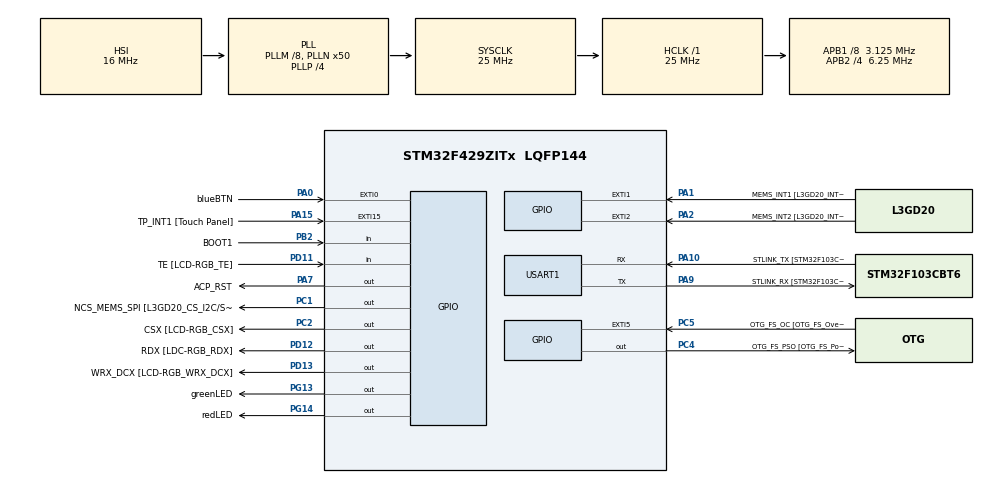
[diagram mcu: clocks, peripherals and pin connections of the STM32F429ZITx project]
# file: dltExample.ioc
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Mcu.Family=STM32F4
Mcu.Name=STM32F429ZITx
Mcu.Package=LQFP144
NVIC.PriorityGroup=NVIC_PRIORITYGROUP_0
NVIC.USART1_IRQn=true\:0\:0\:false\:false\:true\:true\:true\:true
PA0/WKUP.GPIO_Label=blueBTN
PA0/WKUP.GPIO_ModeDefaultEXTI=GPIO_MODE_EVT_RISING
PA0/WKUP.GPIO_PuPd=GPIO_NOPULL
PA0/WKUP.Signal=GPXTI0
PA1.GPIO_Label=MEMS_INT1 [L3GD20_INT1]
PA1.GPIO_ModeDefaultEXTI=GPIO_MODE_EVT_RISING
PA1.GPIO_PuPd=GPIO_NOPULL
PA1.Signal=GPXTI1
PA10.GPIO_Label=STLINK_TX [STM32F103CBT6_PA2]
PA10.Mode=Asynchronous
PA10.Signal=USART1_RX
PA11.GPIO_Label=R4
PA11.GPIO_Mode=GPIO_MODE_AF_PP
PA11.GPIO_PuPd=GPIO_NOPULL
PA11.GPIO_Speed=GPIO_SPEED_FREQ_LOW
PA11.Signal=LTDC_R4
PA12.GPIO_Label=R5
PA12.GPIO_Mode=GPIO_MODE_AF_PP
PA12.GPIO_PuPd=GPIO_NOPULL
PA12.GPIO_Speed=GPIO_SPEED_FREQ_LOW
PA12.Signal=LTDC_R5
PA13.GPIO_Label=SWDIO
PA13.Signal=SYS_JTMS-SWDIO
PA14.GPIO_Label=SWCLK
PA14.Signal=SYS_JTCK-SWCLK
PA15.GPIO_Label=TP_INT1 [Touch Panel]
PA15.GPIO_ModeDefaultEXTI=GPIO_MODE_EVT_RISING
PA15.GPIO_PuPd=GPIO_NOPULL
PA15.Signal=GPXTI15
PA2.GPIO_Label=MEMS_INT2 [L3GD20_INT2]
PA2.GPIO_ModeDefaultEXTI=GPIO_MODE_EVT_RISING
PA2.GPIO_PuPd=GPIO_NOPULL
PA2.Signal=GPXTI2
PA3.GPIO_Label=B5
PA3.GPIO_Mode=GPIO_MODE_AF_PP
PA3.GPIO_PuPd=GPIO_NOPULL
PA3.GPIO_Speed=GPIO_SPEED_FREQ_LOW
PA3.Signal=LTDC_B5
PA4.GPIO_Label=VSYNC
PA4.GPIO_Mode=GPIO_MODE_AF_PP
PA4.GPIO_PuPd=GPIO_NOPULL
PA4.GPIO_Speed=GPIO_SPEED_FREQ_LOW
PA4.Signal=LTDC_VSYNC
PA6.GPIO_Label=G2
PA6.GPIO_Mode=GPIO_MODE_AF_PP
PA6.GPIO_PuPd=GPIO_NOPULL
PA6.GPIO_Speed=GPIO_SPEED_FREQ_LOW
PA6.Signal=LTDC_G2
PA7.GPIO_Label=ACP_RST
PA7.GPIO_Mode=GPIO_MODE_OUTPUT_PP
PA7.GPIO_PuPd=GPIO_NOPULL
PA7.GPIO_Speed=GPIO_SPEED_FREQ_LOW
PA7.Signal=GPIO_Output
PA8.GPIO_Label=I2C3_SCL [ACP/RF_SCL]
PA8.GPIO_Mode=GPIO_MODE_AF_OD
PA8.GPIO_PuPd=GPIO_NOPULL
PA8.GPIO_Speed=GPIO_SPEED_FREQ_LOW
PA8.Signal=I2C3_SCL
PA9.GPIO_Label=STLINK_RX [STM32F103CBT6_PA3]
PA9.Mode=Asynchronous
PA9.Signal=USART1_TX
PB0.GPIO_Label=R3
PB0.GPIO_Mode=GPIO_MODE_AF_PP
PB0.GPIO_PuPd=GPIO_NOPULL
PB0.GPIO_Speed=GPIO_SPEED_FREQ_LOW
PB0.Signal=LTDC_R3
PB1.GPIO_Label=R6
PB1.GPIO_Mode=GPIO_MODE_AF_PP
PB1.GPIO_PuPd=GPIO_NOPULL
PB1.GPIO_Speed=GPIO_SPEED_FREQ_LOW
PB1.Signal=LTDC_R6
PB10.GPIO_Label=G4
PB10.GPIO_Mode=GPIO_MODE_AF_PP
PB10.GPIO_PuPd=GPIO_NOPULL
PB10.GPIO_Speed=GPIO_SPEED_FREQ_LOW
PB10.Signal=LTDC_G4
PB11.GPIO_Label=G5
PB11.GPIO_Mode=GPIO_MODE_AF_PP
PB11.GPIO_PuPd=GPIO_NOPULL
PB11.GPIO_Speed=GPIO_SPEED_FREQ_LOW
PB11.Signal=LTDC_G5
PB12.GPIO_Label=OTG_HS_ID
PB12.GPIO_Mode=GPIO_MODE_AF_PP
PB12.GPIO_PuPd=GPIO_NOPULL
PB12.GPIO_Speed=GPIO_SPEED_FREQ_LOW
PB12.Signal=USB_OTG_HS_ID
PB13.GPIO_Label=VBUS_HS
PB13.GPIO_Mode=GPIO_MODE_INPUT
PB13.GPIO_PuPd=GPIO_NOPULL
PB13.Signal=USB_OTG_HS_VBUS
PB14.GPIO_Label=OTG_HS_DM
PB14.GPIO_Mode=GPIO_MODE_AF_PP
PB14.GPIO_PuPd=GPIO_NOPULL
PB14.GPIO_Speed=GPIO_SPEED_FREQ_LOW
PB14.Signal=USB_OTG_HS_DM
PB15.GPIO_Label=OTG_HS_DP
PB15.GPIO_Mode=GPIO_MODE_AF_PP
PB15.GPIO_PuPd=GPIO_NOPULL
PB15.GPIO_Speed=GPIO_SPEED_FREQ_LOW
PB15.Signal=USB_OTG_HS_DP
PB2/BOOT1.GPIO_Label=BOOT1
PB2/BOOT1.GPIO_Mode=GPIO_MODE_INPUT
PB2/BOOT1.GPIO_PuPd=GPIO_NOPULL
PB2/BOOT1.Signal=GPIO_Input
PB5.GPIO_Label=SDCKE1
PB5.GPIO_Mode=GPIO_MODE_AF_PP
PB5.GPIO_PuPd=GPIO_NOPULL
PB5.GPIO_Speed=GPIO_SPEED_FREQ_VERY_HIGH
PB5.Signal=FMC_SDCKE1
PB6.GPIO_Label=SDNE1 [SDRAM_CS]
PB6.GPIO_Mode=GPIO_MODE_AF_PP
PB6.GPIO_PuPd=GPIO_NOPULL
PB6.GPIO_Speed=GPIO_SPEED_FREQ_VERY_HIGH
PB6.Signal=FMC_SDNE1
PB8.GPIO_Label=B6
PB8.GPIO_Mode=GPIO_MODE_AF_PP
PB8.GPIO_PuPd=GPIO_NOPULL
PB8.GPIO_Speed=GPIO_SPEED_FREQ_LOW
PB8.Signal=LTDC_B6
PB9.GPIO_Label=B7
PB9.GPIO_Mode=GPIO_MODE_AF_PP
PB9.GPIO_PuPd=GPIO_NOPULL
PB9.GPIO_Speed=GPIO_SPEED_FREQ_LOW
PB9.Signal=LTDC_B7
PC0.GPIO_Label=SDNWE
PC0.GPIO_Mode=GPIO_MODE_AF_PP
PC0.GPIO_PuPd=GPIO_NOPULL
PC0.GPIO_Speed=GPIO_SPEED_FREQ_VERY_HIGH
PC0.Signal=FMC_SDNWE
PC1.GPIO_Label=NCS_MEMS_SPI [L3GD20_CS_I2C/SPI]
PC1.GPIO_Mode=GPIO_MODE_OUTPUT_PP
PC1.GPIO_PuPd=GPIO_NOPULL
PC1.GPIO_Speed=GPIO_SPEED_FREQ_LOW
PC1.Signal=GPIO_Output
PC10.GPIO_Label=R2
PC10.GPIO_Mode=GPIO_MODE_AF_PP
PC10.GPIO_PuPd=GPIO_NOPULL
PC10.GPIO_Speed=GPIO_SPEED_FREQ_LOW
PC10.Signal=LTDC_R2
PC14/OSC32_IN.GPIO_Label=PC14-OSC32_IN
PC14/OSC32_IN.Signal=RCC_OSC32_IN
PC15/OSC32_OUT.GPIO_Label=PC15-OSC32_OUT
PC15/OSC32_OUT.Signal=RCC_OSC32_OUT
PC2.GPIO_Label=CSX [LCD-RGB_CSX]
PC2.GPIO_Mode=GPIO_MODE_OUTPUT_PP
PC2.GPIO_PuPd=GPIO_NOPULL
PC2.GPIO_Speed=GPIO_SPEED_FREQ_LOW
PC2.Signal=GPIO_Output
PC4.GPIO_Label=OTG_FS_PSO [OTG_FS_PowerSwitchOn]
PC4.GPIO_Mode=GPIO_MODE_OUTPUT_PP
PC4.GPIO_PuPd=GPIO_NOPULL
PC4.GPIO_Speed=GPIO_SPEED_FREQ_LOW
PC4.Signal=GPIO_Output
PC5.GPIO_Label=OTG_FS_OC [OTG_FS_OverCurrent]
PC5.GPIO_ModeDefaultEXTI=GPIO_MODE_EVT_RISING
PC5.Signal=GPXTI5
PC6.GPIO_Label=HSYNC
PC6.GPIO_Mode=GPIO_MODE_AF_PP
PC6.GPIO_PuPd=GPIO_NOPULL
PC6.GPIO_Speed=GPIO_SPEED_FREQ_LOW
PC6.Signal=LTDC_HSYNC
PC7.GPIO_Label=G6
PC7.GPIO_Mode=GPIO_MODE_AF_PP
PC7.GPIO_PuPd=GPIO_NOPULL
PC7.GPIO_Speed=GPIO_SPEED_FREQ_LOW
PC7.Signal=LTDC_G6
PC9.GPIO_Label=I2C3_SDA [ACP/RF_SDA]
PC9.GPIO_Mode=GPIO_MODE_AF_OD
PC9.GPIO_PuPd=GPIO_NOPULL
PC9.GPIO_Speed=GPIO_SPEED_FREQ_LOW
PC9.Signal=I2C3_SDA
PD0.GPIO_Label=D2
PD0.GPIO_Mode=GPIO_MODE_AF_PP
PD0.GPIO_PuPd=GPIO_NOPULL
PD0.GPIO_Speed=GPIO_SPEED_FREQ_VERY_HIGH
PD0.Signal=FMC_D2_DA2
PD1.GPIO_Label=D3
PD1.GPIO_Mode=GPIO_MODE_AF_PP
PD1.GPIO_PuPd=GPIO_NOPULL
PD1.GPIO_Speed=GPIO_SPEED_FREQ_VERY_HIGH
PD1.Signal=FMC_D3_DA3
PD10.GPIO_Label=D15
PD10.GPIO_Mode=GPIO_MODE_AF_PP
PD10.GPIO_PuPd=GPIO_NOPULL
PD10.GPIO_Speed=GPIO_SPEED_FREQ_VERY_HIGH
PD10.Signal=FMC_D15_DA15
PD11.GPIO_Label=TE [LCD-RGB_TE]
PD11.GPIO_Mode=GPIO_MODE_INPUT
PD11.GPIO_PuPd=GPIO_NOPULL
PD11.Signal=GPIO_Input
PD12.GPIO_Label=RDX [LDC-RGB_RDX]
PD12.GPIO_Mode=GPIO_MODE_OUTPUT_PP
PD12.GPIO_PuPd=GPIO_NOPULL
PD12.GPIO_Speed=GPIO_SPEED_FREQ_LOW
PD12.Signal=GPIO_Output
PD13.GPIO_Label=WRX_DCX [LCD-RGB_WRX_DCX]
PD13.GPIO_Mode=GPIO_MODE_OUTPUT_PP
PD13.GPIO_PuPd=GPIO_NOPULL
PD13.GPIO_Speed=GPIO_SPEED_FREQ_LOW
PD13.Signal=GPIO_Output
PD14.GPIO_Label=D0
PD14.GPIO_Mode=GPIO_MODE_AF_PP
PD14.GPIO_PuPd=GPIO_NOPULL
PD14.GPIO_Speed=GPIO_SPEED_FREQ_VERY_HIGH
PD14.Signal=FMC_D0_DA0
PD15.GPIO_Label=D1
PD15.GPIO_Mode=GPIO_MODE_AF_PP
PD15.GPIO_PuPd=GPIO_NOPULL
PD15.GPIO_Speed=GPIO_SPEED_FREQ_VERY_HIGH
PD15.Signal=FMC_D1_DA1
PD3.GPIO_Label=G7
PD3.GPIO_Mode=GPIO_MODE_AF_PP
PD3.GPIO_PuPd=GPIO_NOPULL
PD3.GPIO_Speed=GPIO_SPEED_FREQ_LOW
PD3.Signal=LTDC_G7
PD6.GPIO_Label=B2
PD6.GPIO_Mode=GPIO_MODE_AF_PP
PD6.GPIO_PuPd=GPIO_NOPULL
PD6.GPIO_Speed=GPIO_SPEED_FREQ_LOW
PD6.Signal=LTDC_B2
PD8.GPIO_Label=D13
PD8.GPIO_Mode=GPIO_MODE_AF_PP
PD8.GPIO_PuPd=GPIO_NOPULL
PD8.GPIO_Speed=GPIO_SPEED_FREQ_VERY_HIGH
PD8.Signal=FMC_D13_DA13
PD9.GPIO_Label=D14
PD9.GPIO_Mode=GPIO_MODE_AF_PP
PD9.GPIO_PuPd=GPIO_NOPULL
PD9.GPIO_Speed=GPIO_SPEED_FREQ_VERY_HIGH
PD9.Signal=FMC_D14_DA14
PE0.GPIO_Label=NBL0 [SDRAM_LDQM]
PE0.GPIO_Mode=GPIO_MODE_AF_PP
PE0.GPIO_PuPd=GPIO_NOPULL
PE0.GPIO_Speed=GPIO_SPEED_FREQ_VERY_HIGH
PE0.Signal=FMC_NBL0
PE1.GPIO_Label=NBL1 [SDRAM_UDQM]
PE1.GPIO_Mode=GPIO_MODE_AF_PP
PE1.GPIO_PuPd=GPIO_NOPULL
PE1.GPIO_Speed=GPIO_SPEED_FREQ_VERY_HIGH
PE1.Signal=FMC_NBL1
PE10.GPIO_Label=D7
PE10.GPIO_Mode=GPIO_MODE_AF_PP
PE10.GPIO_PuPd=GPIO_NOPULL
PE10.GPIO_Speed=GPIO_SPEED_FREQ_VERY_HIGH
PE10.Signal=FMC_D7_DA7
PE11.GPIO_Label=D8
PE11.GPIO_Mode=GPIO_MODE_AF_PP
PE11.GPIO_PuPd=GPIO_NOPULL
PE11.GPIO_Speed=GPIO_SPEED_FREQ_VERY_HIGH
PE11.Signal=FMC_D8_DA8
PE12.GPIO_Label=D9
PE12.GPIO_Mode=GPIO_MODE_AF_PP
PE12.GPIO_PuPd=GPIO_NOPULL
PE12.GPIO_Speed=GPIO_SPEED_FREQ_VERY_HIGH
PE12.Signal=FMC_D9_DA9
PE13.GPIO_Label=D10
PE13.GPIO_Mode=GPIO_MODE_AF_PP
PE13.GPIO_PuPd=GPIO_NOPULL
PE13.GPIO_Speed=GPIO_SPEED_FREQ_VERY_HIGH
PE13.Signal=FMC_D10_DA10
PE14.GPIO_Label=D11
PE14.GPIO_Mode=GPIO_MODE_AF_PP
PE14.GPIO_PuPd=GPIO_NOPULL
PE14.GPIO_Speed=GPIO_SPEED_FREQ_VERY_HIGH
PE14.Signal=FMC_D11_DA11
PE15.GPIO_Label=D12
PE15.GPIO_Mode=GPIO_MODE_AF_PP
PE15.GPIO_PuPd=GPIO_NOPULL
PE15.GPIO_Speed=GPIO_SPEED_FREQ_VERY_HIGH
PE15.Signal=FMC_D12_DA12
PE7.GPIO_Label=D4
PE7.GPIO_Mode=GPIO_MODE_AF_PP
PE7.GPIO_PuPd=GPIO_NOPULL
PE7.GPIO_Speed=GPIO_SPEED_FREQ_VERY_HIGH
PE7.Signal=FMC_D4_DA4
PE8.GPIO_Label=D5
PE8.GPIO_Mode=GPIO_MODE_AF_PP
PE8.GPIO_PuPd=GPIO_NOPULL
PE8.GPIO_Speed=GPIO_SPEED_FREQ_VERY_HIGH
PE8.Signal=FMC_D5_DA5
PE9.GPIO_Label=D6
PE9.GPIO_Mode=GPIO_MODE_AF_PP
PE9.GPIO_PuPd=GPIO_NOPULL
PE9.GPIO_Speed=GPIO_SPEED_FREQ_VERY_HIGH
PE9.Signal=FMC_D6_DA6
PF0.GPIO_Label=A0
PF0.GPIO_Mode=GPIO_MODE_AF_PP
PF0.GPIO_PuPd=GPIO_NOPULL
PF0.GPIO_Speed=GPIO_SPEED_FREQ_VERY_HIGH
PF0.Signal=FMC_A0
PF1.GPIO_Label=A1
PF1.GPIO_Mode=GPIO_MODE_AF_PP
PF1.GPIO_PuPd=GPIO_NOPULL
PF1.GPIO_Speed=GPIO_SPEED_FREQ_VERY_HIGH
PF1.Signal=FMC_A1
PF10.GPIO_Label=ENABLE [LCD-RGB_ENABLE]
PF10.GPIO_Mode=GPIO_MODE_AF_PP
PF10.GPIO_PuPd=GPIO_NOPULL
PF10.GPIO_Speed=GPIO_SPEED_FREQ_LOW
PF10.Signal=LTDC_DE
PF11.GPIO_Label=SDNRAS
PF11.GPIO_Mode=GPIO_MODE_AF_PP
PF11.GPIO_PuPd=GPIO_NOPULL
PF11.GPIO_Speed=GPIO_SPEED_FREQ_VERY_HIGH
PF11.Signal=FMC_SDNRAS
PF12.GPIO_Label=A6
PF12.GPIO_Mode=GPIO_MODE_AF_PP
PF12.GPIO_PuPd=GPIO_NOPULL
PF12.GPIO_Speed=GPIO_SPEED_FREQ_VERY_HIGH
PF12.Signal=FMC_A6
PF13.GPIO_Label=A7
PF13.GPIO_Mode=GPIO_MODE_AF_PP
PF13.GPIO_PuPd=GPIO_NOPULL
PF13.GPIO_Speed=GPIO_SPEED_FREQ_VERY_HIGH
PF13.Signal=FMC_A7
PF14.GPIO_Label=A8
PF14.GPIO_Mode=GPIO_MODE_AF_PP
PF14.GPIO_PuPd=GPIO_NOPULL
PF14.GPIO_Speed=GPIO_SPEED_FREQ_VERY_HIGH
PF14.Signal=FMC_A8
PF15.GPIO_Label=A9
PF15.GPIO_Mode=GPIO_MODE_AF_PP
PF15.GPIO_PuPd=GPIO_NOPULL
PF15.GPIO_Speed=GPIO_SPEED_FREQ_VERY_HIGH
PF15.Signal=FMC_A9
PF2.GPIO_Label=A2
PF2.GPIO_Mode=GPIO_MODE_AF_PP
PF2.GPIO_PuPd=GPIO_NOPULL
PF2.GPIO_Speed=GPIO_SPEED_FREQ_VERY_HIGH
PF2.Signal=FMC_A2
PF3.GPIO_Label=A3
PF3.GPIO_Mode=GPIO_MODE_AF_PP
PF3.GPIO_PuPd=GPIO_NOPULL
PF3.GPIO_Speed=GPIO_SPEED_FREQ_VERY_HIGH
PF3.Signal=FMC_A3
PF4.GPIO_Label=A4
PF4.GPIO_Mode=GPIO_MODE_AF_PP
PF4.GPIO_PuPd=GPIO_NOPULL
PF4.GPIO_Speed=GPIO_SPEED_FREQ_VERY_HIGH
PF4.Signal=FMC_A4
PF5.GPIO_Label=A5
PF5.GPIO_Mode=GPIO_MODE_AF_PP
PF5.GPIO_PuPd=GPIO_NOPULL
PF5.GPIO_Speed=GPIO_SPEED_FREQ_VERY_HIGH
PF5.Signal=FMC_A5
PF7.GPIO_Label=SPI5_SCK [L3GD20_SCL/SPC]
PF7.GPIO_Mode=GPIO_MODE_AF_PP
PF7.GPIO_PuPd=GPIO_NOPULL
PF7.GPIO_Speed=GPIO_SPEED_FREQ_LOW
PF7.Signal=SPI5_SCK
PF8.GPIO_Label=SPI5_MISO [L3GD20_SDO]
PF8.GPIO_Mode=GPIO_MODE_AF_PP
PF8.GPIO_PuPd=GPIO_NOPULL
PF8.GPIO_Speed=GPIO_SPEED_FREQ_LOW
PF8.Signal=SPI5_MISO
PF9.GPIO_Label=SPI5_MOSI [L3GD20_SDA/SDI/SDO]
PF9.GPIO_Mode=GPIO_MODE_AF_PP
PF9.GPIO_PuPd=GPIO_NOPULL
PF9.GPIO_Speed=GPIO_SPEED_FREQ_LOW
PF9.Signal=SPI5_MOSI
PG0.GPIO_Label=A10
PG0.GPIO_Mode=GPIO_MODE_AF_PP
PG0.GPIO_PuPd=GPIO_NOPULL
PG0.GPIO_Speed=GPIO_SPEED_FREQ_VERY_HIGH
PG0.Signal=FMC_A10
PG1.GPIO_Label=A11
PG1.GPIO_Mode=GPIO_MODE_AF_PP
PG1.GPIO_PuPd=GPIO_NOPULL
PG1.GPIO_Speed=GPIO_SPEED_FREQ_VERY_HIGH
PG1.Signal=FMC_A11
PG10.GPIO_Label=G3
PG10.GPIO_Mode=GPIO_MODE_AF_PP
PG10.GPIO_PuPd=GPIO_NOPULL
PG10.GPIO_Speed=GPIO_SPEED_FREQ_LOW
PG10.Signal=LTDC_G3
PG11.GPIO_Label=B3
PG11.GPIO_Mode=GPIO_MODE_AF_PP
PG11.GPIO_PuPd=GPIO_NOPULL
PG11.GPIO_Speed=GPIO_SPEED_FREQ_LOW
PG11.Signal=LTDC_B3
PG12.GPIO_Label=B4
PG12.GPIO_Mode=GPIO_MODE_AF_PP
PG12.GPIO_PuPd=GPIO_NOPULL
PG12.GPIO_Speed=GPIO_SPEED_FREQ_LOW
PG12.Signal=LTDC_B4
PG13.GPIO_Label=greenLED
PG13.GPIO_Mode=GPIO_MODE_OUTPUT_PP
PG13.GPIO_PuPd=GPIO_NOPULL
PG13.GPIO_Speed=GPIO_SPEED_FREQ_LOW
PG13.Signal=GPIO_Output
PG14.GPIO_Label=redLED
PG14.GPIO_Mode=GPIO_MODE_OUTPUT_PP
PG14.GPIO_PuPd=GPIO_NOPULL
PG14.GPIO_Speed=GPIO_SPEED_FREQ_LOW
PG14.Signal=GPIO_Output
PG15.GPIO_Label=SDNCAS
PG15.GPIO_Mode=GPIO_MODE_AF_PP
PG15.GPIO_PuPd=GPIO_NOPULL
PG15.GPIO_Speed=GPIO_SPEED_FREQ_VERY_HIGH
PG15.Signal=FMC_SDNCAS
PG4.GPIO_Label=BA0
PG4.GPIO_Mode=GPIO_MODE_AF_PP
PG4.GPIO_PuPd=GPIO_NOPULL
PG4.GPIO_Speed=GPIO_SPEED_FREQ_VERY_HIGH
PG4.Signal=FMC_A14_BA0
PG5.GPIO_Label=BA1
PG5.GPIO_Mode=GPIO_MODE_AF_PP
PG5.GPIO_PuPd=GPIO_NOPULL
PG5.GPIO_Speed=GPIO_SPEED_FREQ_VERY_HIGH
PG5.Signal=FMC_A15_BA1
PG6.GPIO_Label=R7
PG6.GPIO_Mode=GPIO_MODE_AF_PP
PG6.GPIO_PuPd=GPIO_NOPULL
PG6.GPIO_Speed=GPIO_SPEED_FREQ_LOW
PG6.Signal=LTDC_R7
PG7.GPIO_Label=DOTCLK [LCT-RGB_DOTCLK]
PG7.GPIO_Mode=GPIO_MODE_AF_PP
PG7.GPIO_PuPd=GPIO_NOPULL
PG7.GPIO_Speed=GPIO_SPEED_FREQ_LOW
PG7.Signal=LTDC_CLK
PG8.GPIO_Label=SDCLK
PG8.GPIO_Mode=GPIO_MODE_AF_PP
PG8.GPIO_PuPd=GPIO_NOPULL
PG8.GPIO_Speed=GPIO_SPEED_FREQ_VERY_HIGH
PG8.Signal=FMC_SDCLK
PH0/OSC_IN.GPIO_Label=PH0-OSC_IN
PH0/OSC_IN.Signal=RCC_OSC_IN
PH1/OSC_OUT.GPIO_Label=PH1-OSC_OUT
PH1/OSC_OUT.Signal=RCC_OSC_OUT
ProjectManager.HeapSize=0x200
ProjectManager.StackSize=0x400
ProjectManager.TargetToolchain=STM32CubeIDE
RCC.48MHZClocksFreq_Value=14285714.285714285
RCC.AHBFreq_Value=25000000
RCC.APB1CLKDivider=RCC_HCLK_DIV8
RCC.APB1Freq_Value=3125000
RCC.APB1TimFreq_Value=6250000
RCC.APB2CLKDivider=RCC_HCLK_DIV4
RCC.APB2Freq_Value=6250000
RCC.APB2TimFreq_Value=12500000
RCC.CortexFreq_Value=25000000
RCC.HCLKFreq_Value=25000000
RCC.HSE_VALUE=8000000
RCC.HSI_VALUE=16000000
RCC.LSE_VALUE=32768
RCC.PLLM=8
RCC.PLLN=50
RCC.PLLP=RCC_PLLP_DIV4
RCC.PLLQ=7
RCC.SYSCLKFreq_VALUE=25000000
RCC.SYSCLKSource=RCC_SYSCLKSOURCE_PLLCLK
RCC.VCOOutputFreq_Value=100000000
SH.FMC_A0.0=FMC_A0
SH.FMC_A1.0=FMC_A1
SH.FMC_A10.0=FMC_A10
SH.FMC_A11.0=FMC_A11
SH.FMC_A14_BA0.0=FMC_BA0
SH.FMC_A15_BA1.0=FMC_BA1
SH.FMC_A2.0=FMC_A2
SH.FMC_A3.0=FMC_A3
SH.FMC_A4.0=FMC_A4
SH.FMC_A5.0=FMC_A5
SH.FMC_A6.0=FMC_A6
SH.FMC_A7.0=FMC_A7
SH.FMC_A8.0=FMC_A8
SH.FMC_A9.0=FMC_A9
SH.FMC_D0_DA0.0=FMC_D0
SH.FMC_D10_DA10.0=FMC_D10
SH.FMC_D11_DA11.0=FMC_D11
SH.FMC_D12_DA12.0=FMC_D12
SH.FMC_D13_DA13.0=FMC_D13
SH.FMC_D14_DA14.0=FMC_D14
SH.FMC_D15_DA15.0=FMC_D15
SH.FMC_D1_DA1.0=FMC_D1
SH.FMC_D2_DA2.0=FMC_D2
SH.FMC_D3_DA3.0=FMC_D3
SH.FMC_D4_DA4.0=FMC_D4
SH.FMC_D5_DA5.0=FMC_D5
SH.FMC_D6_DA6.0=FMC_D6
SH.FMC_D7_DA7.0=FMC_D7
SH.FMC_D8_DA8.0=FMC_D8
SH.FMC_D9_DA9.0=FMC_D9
SH.FMC_NBL0.0=FMC_NBL0
SH.FMC_NBL1.0=FMC_NBL1
SH.FMC_SDCLK.0=FMC_SDCLK
SH.FMC_SDNCAS.0=FMC_SDNCAS
SH.FMC_SDNRAS.0=FMC_SDNRAS
SH.FMC_SDNWE.0=FMC_SDNWE
TIM2.AutoReloadPreload=TIM_AUTORELOAD_PRELOAD_ENABLE
TIM2.Period=0xFFFFFFFF
TIM2.Prescaler=249
USART1.VirtualMode=VM_ASYNC
VP_TIM2_VS_ClockSourceINT.Mode=Internal
board=STM32F429I-DISC1

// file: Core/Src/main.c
/* USER CODE BEGIN Header */
/**
  ******************************************************************************
  * @file           : main.c
  * @brief          : Main program body
  ******************************************************************************
  * @attention
  *
  * Copyright (c) 2026 STMicroelectronics.
  * All rights reserved.
  *
  * This software is licensed under terms that can be found in the LICENSE file
  * in the root directory of this software component.
  * If no LICENSE file comes with this software, it is provided AS-IS.
  *
  ******************************************************************************
  */
/* USER CODE END Header */
#include "main.h"

/* USER CODE BEGIN Includes */
#include <inttypes.h>
#include "dlt_mcu.h"
#include "dlt_hal_stm32.h"  /* your HAL impl */
/* USER CODE END Includes */

/* USER CODE BEGIN PTD */

static dlt_ctx_t ctx_motor;
static dlt_ctx_t ctx_sys;
static uint8_t s_rx_byte;
/* USER CODE END PTD */

/* USER CODE BEGIN PD */

/* Message IDs — must match your FIBEX file */
#define MSG_MOTOR_SPEED   0x00000001u
#define MSG_FAULT_CODE    0x00000002u
#define MSG_BOOT_DONE     0x00000003u
/* USER CODE END PD */

TIM_HandleTypeDef htim2;

UART_HandleTypeDef huart1;

void SystemClock_Config(void);
static void MX_GPIO_Init(void);
static void MX_USART1_UART_Init(void);
static void MX_TIM2_Init(void);

/* USER CODE BEGIN 0 */
static uint32_t s_last_10ms = 0u;

static inline uint8_t elapsed_10ms(void) {
    uint32_t now = HAL_GetTick();   /* 1ms SysTick */
    if ((now - s_last_10ms) >= 10u) {
        s_last_10ms = now;
        return 1u;
    }
    return 0u;
}

void HAL_UART_RxCpltCallback(UART_HandleTypeDef *huart) {
	if (huart->Instance == USART1) {
		dlt_feed_rx(s_rx_byte);
		HAL_UART_Receive_IT(&huart1, &s_rx_byte, 1);
	}
}

void HAL_UART_TxCpltCallback(UART_HandleTypeDef *huart) {
	if (huart->Instance == USART1)
		dlt_hal_tx_complete_cb();
}

void app_init(void) {
    dlt_init();
    HAL_UART_Receive_IT(&huart1, &s_rx_byte, 1);
    ctx_motor = dlt_register_context("MOTR", "CTRL");
    ctx_sys   = dlt_register_context("SYS", "BOOT");

    /* No-args log */
    DLT_LOG_NOARGS(ctx_sys, DLT_LEVEL_INFO, MSG_BOOT_DONE);
}

uint32_t get_motor_speed_rpm()
{
	return 100;
}

float get_motor_temp_c()
{
	return 57.4;
}

void app_10ms_task(void) {
	uint32_t speed    = get_motor_speed_rpm();
	float    temp     = get_motor_temp_c();
	int32_t  temp_i   = (int32_t)temp;
	uint32_t temp_f   = (uint32_t)((temp - (float)temp_i) * 10.0f);

	DLT_LOGF_INFO(ctx_motor, "motor speed = %" PRIu32 " rpm, temp = %" PRId32 ".%" PRIu32 " C",
	              speed, temp_i, temp_f);
}

void app_fault_handler(uint16_t fault_code) {
    DLT_PACK_BEGIN(p);
    DLT_PACK_U16(p, fault_code);
    DLT_ERROR(ctx_motor, MSG_FAULT_CODE, p);
}

/* USER CODE END 0 */

int main(void)
{

  /* MCU Configuration--------------------------------------------------------*/

  /* Reset of all peripherals, Initializes the Flash interface and the Systick. */
  HAL_Init();

  /* Configure the system clock */
  SystemClock_Config();

  /* Initialize all configured peripherals */
  MX_GPIO_Init();
  MX_USART1_UART_Init();
  MX_TIM2_Init();
  /* USER CODE BEGIN 2 */
  HAL_TIM_Base_Start(&htim2);
  app_init();
  /* USER CODE END 2 */

  /* Infinite loop */
  /* USER CODE BEGIN WHILE */
  while (1)
  {
	  dlt_process();   /* drain TX buffer */
	  if (elapsed_10ms()) {
		  app_10ms_task();      /* only every 10ms */
	  }
    /* USER CODE END WHILE */

  }
}

void SystemClock_Config(void)
{
  RCC_OscInitTypeDef RCC_OscInitStruct = {0};
  RCC_ClkInitTypeDef RCC_ClkInitStruct = {0};

  /** Configure the main internal regulator output voltage
  */
  __HAL_RCC_PWR_CLK_ENABLE();
  __HAL_PWR_VOLTAGESCALING_CONFIG(PWR_REGULATOR_VOLTAGE_SCALE3);

  /** Initializes the RCC Oscillators according to the specified parameters
  * in the RCC_OscInitTypeDef structure.
  */
  RCC_OscInitStruct.OscillatorType = RCC_OSCILLATORTYPE_HSI;
  RCC_OscInitStruct.HSIState = RCC_HSI_ON;
  RCC_OscInitStruct.HSICalibrationValue = RCC_HSICALIBRATION_DEFAULT;
  RCC_OscInitStruct.PLL.PLLState = RCC_PLL_ON;
  RCC_OscInitStruct.PLL.PLLSource = RCC_PLLSOURCE_HSI;
  RCC_OscInitStruct.PLL.PLLM = 8;
  RCC_OscInitStruct.PLL.PLLN = 50;
  RCC_OscInitStruct.PLL.PLLP = RCC_PLLP_DIV4;
  RCC_OscInitStruct.PLL.PLLQ = 7;
  if (HAL_RCC_OscConfig(&RCC_OscInitStruct) != HAL_OK)
  {
    Error_Handler();
  }

  /** Initializes the CPU, AHB and APB buses clocks
  */
  RCC_ClkInitStruct.ClockType = RCC_CLOCKTYPE_HCLK|RCC_CLOCKTYPE_SYSCLK
                              |RCC_CLOCKTYPE_PCLK1|RCC_CLOCKTYPE_PCLK2;
  RCC_ClkInitStruct.SYSCLKSource = RCC_SYSCLKSOURCE_PLLCLK;
  RCC_ClkInitStruct.AHBCLKDivider = RCC_SYSCLK_DIV1;
  RCC_ClkInitStruct.APB1CLKDivider = RCC_HCLK_DIV8;
  RCC_ClkInitStruct.APB2CLKDivider = RCC_HCLK_DIV4;

  if (HAL_RCC_ClockConfig(&RCC_ClkInitStruct, FLASH_LATENCY_0) != HAL_OK)
  {
    Error_Handler();
  }
}

static void MX_TIM2_Init(void)
{

  TIM_ClockConfigTypeDef sClockSourceConfig = {0};
  TIM_MasterConfigTypeDef sMasterConfig = {0};

  htim2.Instance = TIM2;
  htim2.Init.Prescaler = (6250000u / 100000u) - 1u;
  htim2.Init.CounterMode = TIM_COUNTERMODE_UP;
  htim2.Init.Period = 0xFFFFFFFFu;
  htim2.Init.ClockDivision = TIM_CLOCKDIVISION_DIV1;
  htim2.Init.AutoReloadPreload = TIM_AUTORELOAD_PRELOAD_ENABLE;
  if (HAL_TIM_Base_Init(&htim2) != HAL_OK)
  {
    Error_Handler();
  }
  sClockSourceConfig.ClockSource = TIM_CLOCKSOURCE_INTERNAL;
  if (HAL_TIM_ConfigClockSource(&htim2, &sClockSourceConfig) != HAL_OK)
  {
    Error_Handler();
  }
  sMasterConfig.MasterOutputTrigger = TIM_TRGO_RESET;
  sMasterConfig.MasterSlaveMode = TIM_MASTERSLAVEMODE_DISABLE;
  if (HAL_TIMEx_MasterConfigSynchronization(&htim2, &sMasterConfig) != HAL_OK)
  {
    Error_Handler();
  }

}

static void MX_USART1_UART_Init(void)
{

  huart1.Instance = USART1;
  huart1.Init.BaudRate = 115200;
  huart1.Init.WordLength = UART_WORDLENGTH_8B;
  huart1.Init.StopBits = UART_STOPBITS_1;
  huart1.Init.Parity = UART_PARITY_NONE;
  huart1.Init.Mode = UART_MODE_TX_RX;
  huart1.Init.HwFlowCtl = UART_HWCONTROL_NONE;
  huart1.Init.OverSampling = UART_OVERSAMPLING_16;
  if (HAL_UART_Init(&huart1) != HAL_OK)
  {
    Error_Handler();
  }

}

static void MX_GPIO_Init(void)
{
  GPIO_InitTypeDef GPIO_InitStruct = {0};

  /* GPIO Ports Clock Enable */
  __HAL_RCC_GPIOC_CLK_ENABLE();
  __HAL_RCC_GPIOF_CLK_ENABLE();
  __HAL_RCC_GPIOH_CLK_ENABLE();
  __HAL_RCC_GPIOA_CLK_ENABLE();
  __HAL_RCC_GPIOB_CLK_ENABLE();
  __HAL_RCC_GPIOG_CLK_ENABLE();
  __HAL_RCC_GPIOE_CLK_ENABLE();
  __HAL_RCC_GPIOD_CLK_ENABLE();

  /*Configure GPIO pin Output Level */
  HAL_GPIO_WritePin(GPIOC, NCS_MEMS_SPI_Pin|CSX_Pin|OTG_FS_PSO_Pin, GPIO_PIN_RESET);

  /*Configure GPIO pin Output Level */
  HAL_GPIO_WritePin(ACP_RST_GPIO_Port, ACP_RST_Pin, GPIO_PIN_RESET);

  /*Configure GPIO pin Output Level */
  HAL_GPIO_WritePin(GPIOD, RDX_Pin|WRX_DCX_Pin, GPIO_PIN_RESET);

  /*Configure GPIO pin Output Level */
  HAL_GPIO_WritePin(GPIOG, greenLED_Pin|redLED_Pin, GPIO_PIN_RESET);

  /*Configure GPIO pins : A0_Pin A1_Pin A2_Pin A3_Pin
                           A4_Pin A5_Pin SDNRAS_Pin A6_Pin
                           A7_Pin A8_Pin A9_Pin */
  GPIO_InitStruct.Pin = A0_Pin|A1_Pin|A2_Pin|A3_Pin
                          |A4_Pin|A5_Pin|SDNRAS_Pin|A6_Pin
                          |A7_Pin|A8_Pin|A9_Pin;
  GPIO_InitStruct.Mode = GPIO_MODE_AF_PP;
  GPIO_InitStruct.Pull = GPIO_NOPULL;
  GPIO_InitStruct.Speed = GPIO_SPEED_FREQ_VERY_HIGH;
  GPIO_InitStruct.Alternate = GPIO_AF12_FMC;
  HAL_GPIO_Init(GPIOF, &GPIO_InitStruct);

  /*Configure GPIO pins : SPI5_SCK_Pin SPI5_MISO_Pin SPI5_MOSI_Pin */
  GPIO_InitStruct.Pin = SPI5_SCK_Pin|SPI5_MISO_Pin|SPI5_MOSI_Pin;
  GPIO_InitStruct.Mode = GPIO_MODE_AF_PP;
  GPIO_InitStruct.Pull = GPIO_NOPULL;
  GPIO_InitStruct.Speed = GPIO_SPEED_FREQ_LOW;
  GPIO_InitStruct.Alternate = GPIO_AF5_SPI5;
  HAL_GPIO_Init(GPIOF, &GPIO_InitStruct);

  /*Configure GPIO pin : ENABLE_Pin */
  GPIO_InitStruct.Pin = ENABLE_Pin;
  GPIO_InitStruct.Mode = GPIO_MODE_AF_PP;
  GPIO_InitStruct.Pull = GPIO_NOPULL;
  GPIO_InitStruct.Speed = GPIO_SPEED_FREQ_LOW;
  GPIO_InitStruct.Alternate = GPIO_AF14_LTDC;
  HAL_GPIO_Init(ENABLE_GPIO_Port, &GPIO_InitStruct);

  /*Configure GPIO pin : SDNWE_Pin */
  GPIO_InitStruct.Pin = SDNWE_Pin;
  GPIO_InitStruct.Mode = GPIO_MODE_AF_PP;
  GPIO_InitStruct.Pull = GPIO_NOPULL;
  GPIO_InitStruct.Speed = GPIO_SPEED_FREQ_VERY_HIGH;
  GPIO_InitStruct.Alternate = GPIO_AF12_FMC;
  HAL_GPIO_Init(SDNWE_GPIO_Port, &GPIO_InitStruct);

  /*Configure GPIO pins : NCS_MEMS_SPI_Pin CSX_Pin OTG_FS_PSO_Pin */
  GPIO_InitStruct.Pin = NCS_MEMS_SPI_Pin|CSX_Pin|OTG_FS_PSO_Pin;
  GPIO_InitStruct.Mode = GPIO_MODE_OUTPUT_PP;
  GPIO_InitStruct.Pull = GPIO_NOPULL;
  GPIO_InitStruct.Speed = GPIO_SPEED_FREQ_LOW;
  HAL_GPIO_Init(GPIOC, &GPIO_InitStruct);

  /*Configure GPIO pins : blueBTN_Pin MEMS_INT1_Pin MEMS_INT2_Pin TP_INT1_Pin */
  GPIO_InitStruct.Pin = blueBTN_Pin|MEMS_INT1_Pin|MEMS_INT2_Pin|TP_INT1_Pin;
  GPIO_InitStruct.Mode = GPIO_MODE_EVT_RISING;
  GPIO_InitStruct.Pull = GPIO_NOPULL;
  HAL_GPIO_Init(GPIOA, &GPIO_InitStruct);

  /*Configure GPIO pins : B5_Pin VSYNC_Pin G2_Pin R4_Pin
                           R5_Pin */
  GPIO_InitStruct.Pin = B5_Pin|VSYNC_Pin|G2_Pin|R4_Pin
                          |R5_Pin;
  GPIO_InitStruct.Mode = GPIO_MODE_AF_PP;
  GPIO_InitStruct.Pull = GPIO_NOPULL;
  GPIO_InitStruct.Speed = GPIO_SPEED_FREQ_LOW;
  GPIO_InitStruct.Alternate = GPIO_AF14_LTDC;
  HAL_GPIO_Init(GPIOA, &GPIO_InitStruct);

  /*Configure GPIO pin : ACP_RST_Pin */
  GPIO_InitStruct.Pin = ACP_RST_Pin;
  GPIO_InitStruct.Mode = GPIO_MODE_OUTPUT_PP;
  GPIO_InitStruct.Pull = GPIO_NOPULL;
  GPIO_InitStruct.Speed = GPIO_SPEED_FREQ_LOW;
  HAL_GPIO_Init(ACP_RST_GPIO_Port, &GPIO_InitStruct);

  /*Configure GPIO pin : OTG_FS_OC_Pin */
  GPIO_InitStruct.Pin = OTG_FS_OC_Pin;
  GPIO_InitStruct.Mode = GPIO_MODE_EVT_RISING;
  GPIO_InitStruct.Pull = GPIO_NOPULL;
  HAL_GPIO_Init(OTG_FS_OC_GPIO_Port, &GPIO_InitStruct);

  /*Configure GPIO pins : R3_Pin R6_Pin */
  GPIO_InitStruct.Pin = R3_Pin|R6_Pin;
  GPIO_InitStruct.Mode = GPIO_MODE_AF_PP;
  GPIO_InitStruct.Pull = GPIO_NOPULL;
  GPIO_InitStruct.Speed = GPIO_SPEED_FREQ_LOW;
  GPIO_InitStruct.Alternate = GPIO_AF9_LTDC;
  HAL_GPIO_Init(GPIOB, &GPIO_InitStruct);

  /*Configure GPIO pin : BOOT1_Pin */
  GPIO_InitStruct.Pin = BOOT1_Pin;
  GPIO_InitStruct.Mode = GPIO_MODE_INPUT;
  GPIO_InitStruct.Pull = GPIO_NOPULL;
  HAL_GPIO_Init(BOOT1_GPIO_Port, &GPIO_InitStruct);

  /*Configure GPIO pins : A10_Pin A11_Pin BA0_Pin BA1_Pin
                           SDCLK_Pin SDNCAS_Pin */
  GPIO_InitStruct.Pin = A10_Pin|A11_Pin|BA0_Pin|BA1_Pin
                          |SDCLK_Pin|SDNCAS_Pin;
  GPIO_InitStruct.Mode = GPIO_MODE_AF_PP;
  GPIO_InitStruct.Pull = GPIO_NOPULL;
  GPIO_InitStruct.Speed = GPIO_SPEED_FREQ_VERY_HIGH;
  GPIO_InitStruct.Alternate = GPIO_AF12_FMC;
  HAL_GPIO_Init(GPIOG, &GPIO_InitStruct);

  /*Configure GPIO pins : D4_Pin D5_Pin D6_Pin D7_Pin
                           D8_Pin D9_Pin D10_Pin D11_Pin
                           D12_Pin NBL0_Pin NBL1_Pin */
  GPIO_InitStruct.Pin = D4_Pin|D5_Pin|D6_Pin|D7_Pin
                          |D8_Pin|D9_Pin|D10_Pin|D11_Pin
                          |D12_Pin|NBL0_Pin|NBL1_Pin;
  GPIO_InitStruct.Mode = GPIO_MODE_AF_PP;
  GPIO_InitStruct.Pull = GPIO_NOPULL;
  GPIO_InitStruct.Speed = GPIO_SPEED_FREQ_VERY_HIGH;
  GPIO_InitStruct.Alternate = GPIO_AF12_FMC;
  HAL_GPIO_Init(GPIOE, &GPIO_InitStruct);

  /*Configure GPIO pins : G4_Pin G5_Pin B6_Pin B7_Pin */
  GPIO_InitStruct.Pin = G4_Pin|G5_Pin|B6_Pin|B7_Pin;
  GPIO_InitStruct.Mode = GPIO_MODE_AF_PP;
  GPIO_InitStruct.Pull = GPIO_NOPULL;
  GPIO_InitStruct.Speed = GPIO_SPEED_FREQ_LOW;
  GPIO_InitStruct.Alternate = GPIO_AF14_LTDC;
  HAL_GPIO_Init(GPIOB, &GPIO_InitStruct);

  /*Configure GPIO pins : OTG_HS_ID_Pin OTG_HS_DM_Pin OTG_HS_DP_Pin */
  GPIO_InitStruct.Pin = OTG_HS_ID_Pin|OTG_HS_DM_Pin|OTG_HS_DP_Pin;
  GPIO_InitStruct.Mode = GPIO_MODE_AF_PP;
  GPIO_InitStruct.Pull = GPIO_NOPULL;
  GPIO_InitStruct.Speed = GPIO_SPEED_FREQ_LOW;
  GPIO_InitStruct.Alternate = GPIO_AF12_OTG_HS_FS;
  HAL_GPIO_Init(GPIOB, &GPIO_InitStruct);

  /*Configure GPIO pin : VBUS_HS_Pin */
  GPIO_InitStruct.Pin = VBUS_HS_Pin;
  GPIO_InitStruct.Mode = GPIO_MODE_INPUT;
  GPIO_InitStruct.Pull = GPIO_NOPULL;
  HAL_GPIO_Init(VBUS_HS_GPIO_Port, &GPIO_InitStruct);

  /*Configure GPIO pins : D13_Pin D14_Pin D15_Pin D0_Pin
                           D1_Pin D2_Pin D3_Pin */
  GPIO_InitStruct.Pin = D13_Pin|D14_Pin|D15_Pin|D0_Pin
                          |D1_Pin|D2_Pin|D3_Pin;
  GPIO_InitStruct.Mode = GPIO_MODE_AF_PP;
  GPIO_InitStruct.Pull = GPIO_NOPULL;
  GPIO_InitStruct.Speed = GPIO_SPEED_FREQ_VERY_HIGH;
  GPIO_InitStruct.Alternate = GPIO_AF12_FMC;
  HAL_GPIO_Init(GPIOD, &GPIO_InitStruct);

  /*Configure GPIO pin : TE_Pin */
  GPIO_InitStruct.Pin = TE_Pin;
  GPIO_InitStruct.Mode = GPIO_MODE_INPUT;
  GPIO_InitStruct.Pull = GPIO_NOPULL;
  HAL_GPIO_Init(TE_GPIO_Port, &GPIO_InitStruct);

  /*Configure GPIO pins : RDX_Pin WRX_DCX_Pin */
  GPIO_InitStruct.Pin = RDX_Pin|WRX_DCX_Pin;
  GPIO_InitStruct.Mode = GPIO_MODE_OUTPUT_PP;
  GPIO_InitStruct.Pull = GPIO_NOPULL;
  GPIO_InitStruct.Speed = GPIO_SPEED_FREQ_LOW;
  HAL_GPIO_Init(GPIOD, &GPIO_InitStruct);

  /*Configure GPIO pins : R7_Pin DOTCLK_Pin B3_Pin */
  GPIO_InitStruct.Pin = R7_Pin|DOTCLK_Pin|B3_Pin;
  GPIO_InitStruct.Mode = GPIO_MODE_AF_PP;
  GPIO_InitStruct.Pull = GPIO_NOPULL;
  GPIO_InitStruct.Speed = GPIO_SPEED_FREQ_LOW;
  GPIO_InitStruct.Alternate = GPIO_AF14_LTDC;
  HAL_GPIO_Init(GPIOG, &GPIO_InitStruct);

  /*Configure GPIO pins : HSYNC_Pin G6_Pin R2_Pin */
  GPIO_InitStruct.Pin = HSYNC_Pin|G6_Pin|R2_Pin;
  GPIO_InitStruct.Mode = GPIO_MODE_AF_PP;
  GPIO_InitStruct.Pull = GPIO_NOPULL;
  GPIO_InitStruct.Speed = GPIO_SPEED_FREQ_LOW;
  GPIO_InitStruct.Alternate = GPIO_AF14_LTDC;
  HAL_GPIO_Init(GPIOC, &GPIO_InitStruct);

  /*Configure GPIO pin : I2C3_SDA_Pin */
  GPIO_InitStruct.Pin = I2C3_SDA_Pin;
  GPIO_InitStruct.Mode = GPIO_MODE_AF_OD;
  GPIO_InitStruct.Pull = GPIO_NOPULL;
  GPIO_InitStruct.Speed = GPIO_SPEED_FREQ_LOW;
  GPIO_InitStruct.Alternate = GPIO_AF4_I2C3;
  HAL_GPIO_Init(I2C3_SDA_GPIO_Port, &GPIO_InitStruct);

  /*Configure GPIO pin : I2C3_SCL_Pin */
  GPIO_InitStruct.Pin = I2C3_SCL_Pin;
  GPIO_InitStruct.Mode = GPIO_MODE_AF_OD;
  GPIO_InitStruct.Pull = GPIO_NOPULL;
  GPIO_InitStruct.Speed = GPIO_SPEED_FREQ_LOW;
  GPIO_InitStruct.Alternate = GPIO_AF4_I2C3;
  HAL_GPIO_Init(I2C3_SCL_GPIO_Port, &GPIO_InitStruct);

  /*Configure GPIO pins : G7_Pin B2_Pin */
  GPIO_InitStruct.Pin = G7_Pin|B2_Pin;
  GPIO_InitStruct.Mode = GPIO_MODE_AF_PP;
  GPIO_InitStruct.Pull = GPIO_NOPULL;
  GPIO_InitStruct.Speed = GPIO_SPEED_FREQ_LOW;
  GPIO_InitStruct.Alternate = GPIO_AF14_LTDC;
  HAL_GPIO_Init(GPIOD, &GPIO_InitStruct);

  /*Configure GPIO pins : G3_Pin B4_Pin */
  GPIO_InitStruct.Pin = G3_Pin|B4_Pin;
  GPIO_InitStruct.Mode = GPIO_MODE_AF_PP;
  GPIO_InitStruct.Pull = GPIO_NOPULL;
  GPIO_InitStruct.Speed = GPIO_SPEED_FREQ_LOW;
  GPIO_InitStruct.Alternate = GPIO_AF9_LTDC;
  HAL_GPIO_Init(GPIOG, &GPIO_InitStruct);

  /*Configure GPIO pins : greenLED_Pin redLED_Pin */
  GPIO_InitStruct.Pin = greenLED_Pin|redLED_Pin;
  GPIO_InitStruct.Mode = GPIO_MODE_OUTPUT_PP;
  GPIO_InitStruct.Pull = GPIO_NOPULL;
  GPIO_InitStruct.Speed = GPIO_SPEED_FREQ_LOW;
  HAL_GPIO_Init(GPIOG, &GPIO_InitStruct);

  /*Configure GPIO pins : SDCKE1_Pin SDNE1_Pin */
  GPIO_InitStruct.Pin = SDCKE1_Pin|SDNE1_Pin;
  GPIO_InitStruct.Mode = GPIO_MODE_AF_PP;
  GPIO_InitStruct.Pull = GPIO_NOPULL;
  GPIO_InitStruct.Speed = GPIO_SPEED_FREQ_VERY_HIGH;
  GPIO_InitStruct.Alternate = GPIO_AF12_FMC;
  HAL_GPIO_Init(GPIOB, &GPIO_InitStruct);

}

void Error_Handler(void)
{
  __disable_irq();
  while (1)
  {
  }
}
